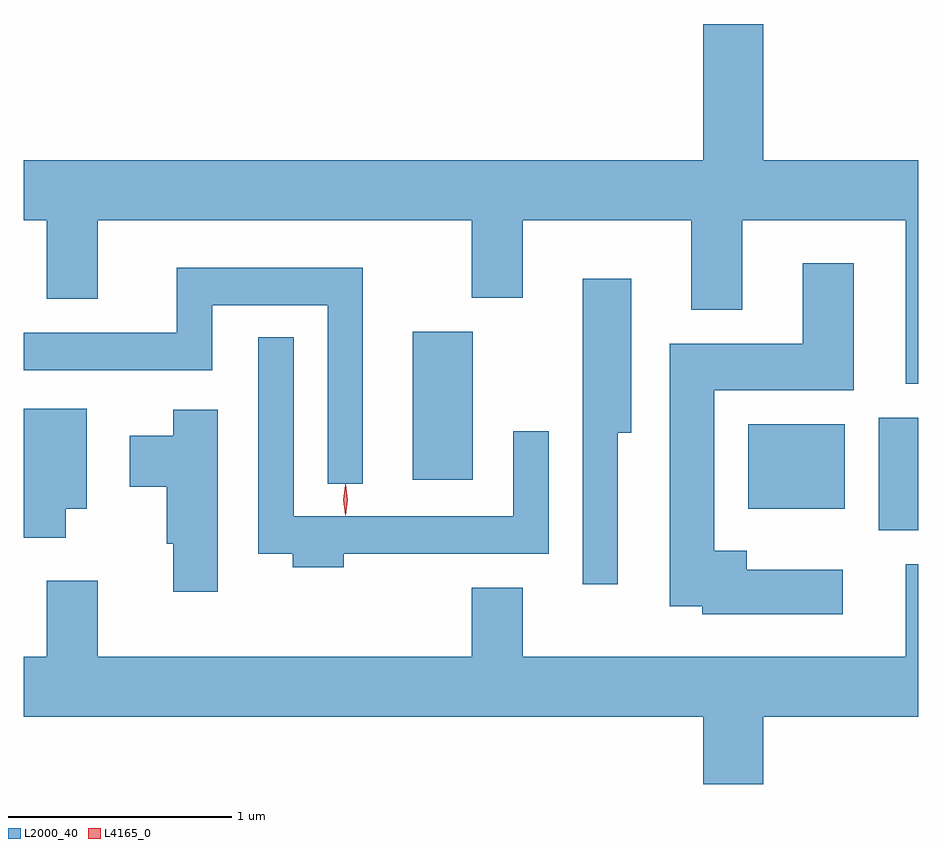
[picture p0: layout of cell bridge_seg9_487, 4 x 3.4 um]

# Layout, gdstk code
import gdstk
lib = gdstk.Library(unit=1e-6, precision=1e-09)
def R(c, l, rs):  # rectangles x0, y0, x1, y1
    for r in rs: c.add(gdstk.rectangle(r[:2], r[2:], *l))
def P(c, l, *ps):  # polygons
    for p in ps: c.add(gdstk.Polygon(p, *l))
L2000_40 = (2000, 40)
L4165_0 = (4165, 0)

bridge_seg9_487 = lib.new_cell('bridge_seg9_487')
R(bridge_seg9_487, L2000_40, [(555.521,1970.451,555.697,1970.954), (554.936,1970.546,555.369,1970.924), (553.436,1970.676,553.704,1971.339)])
P(bridge_seg9_487, L2000_40, [(555.697,1972.104),(555.004,1972.104),(555.004,1972.714),(554.736,1972.714),(554.736,1972.104),(551.697,1972.104),(551.697,1971.836),(551.801,1971.836),(551.801,1971.486),(552.029,1971.486),(552.029,1971.836),(553.701,1971.836),(553.701,1971.491),(553.929,1971.491),(553.929,1971.836),(554.681,1971.836),(554.681,1971.436),(554.909,1971.436),(554.909,1971.836),(555.641,1971.836),(555.641,1971.106),(555.697,1971.106)],
  [(555.359,1970.274),(554.929,1970.274),(554.929,1970.359),(554.784,1970.359),(554.784,1971.076),(555.409,1971.076),(555.409,1971.644),(555.181,1971.644),(555.181,1971.284),(554.586,1971.284),(554.586,1970.111),(554.731,1970.111),(554.731,1970.076),(555.359,1970.076)],
  [(553.214,1971.624),(552.381,1971.624),(552.381,1971.334),(551.697,1971.334),(551.697,1971.166),(552.539,1971.166),(552.539,1971.456),(553.056,1971.456),(553.056,1970.658),(553.214,1970.658)],
  [(554.354,1970.886),(554.414,1970.886),(554.414,1971.574),(554.196,1971.574),(554.196,1970.208),(554.354,1970.208)],
  [(553.129,1970.346),(554.044,1970.346),(554.044,1970.893),(553.886,1970.893),(553.886,1970.514),(552.904,1970.514),(552.904,1971.313),(552.746,1971.313),(552.746,1970.346),(552.901,1970.346),(552.901,1970.286),(553.129,1970.286)],
  [(551.884,1970.546),(551.979,1970.546),(551.979,1970.994),(551.697,1970.994),(551.697,1970.416),(551.884,1970.416)],
  [(552.564,1970.989),(552.366,1970.989),(552.366,1970.874),(552.171,1970.874),(552.171,1970.646),(552.336,1970.646),(552.336,1970.391),(552.366,1970.391),(552.366,1970.176),(552.564,1970.176)],
  [(555.004,1969.616),(555.697,1969.616),(555.697,1970.299),(555.641,1970.299),(555.641,1969.884),(553.929,1969.884),(553.929,1970.194),(553.701,1970.194),(553.701,1969.884),(552.029,1969.884),(552.029,1970.224),(551.801,1970.224),(551.801,1969.884),(551.697,1969.884),(551.697,1969.616),(554.736,1969.616),(554.736,1969.316),(555.004,1969.316)])
P(bridge_seg9_487, L4165_0, [(553.137,1970.517),(553.136,1970.518),(553.127,1970.587),(553.136,1970.656),(553.137,1970.656),(553.137,1970.656),(553.147,1970.587),(553.137,1970.518)],
  [(553.135,1970.519),(553.135,1970.52),(553.125,1970.586),(553.135,1970.652),(553.135,1970.653),(553.136,1970.652),(553.145,1970.586),(553.136,1970.52)])

lib.write_gds('bridge_seg9_487.gds')
